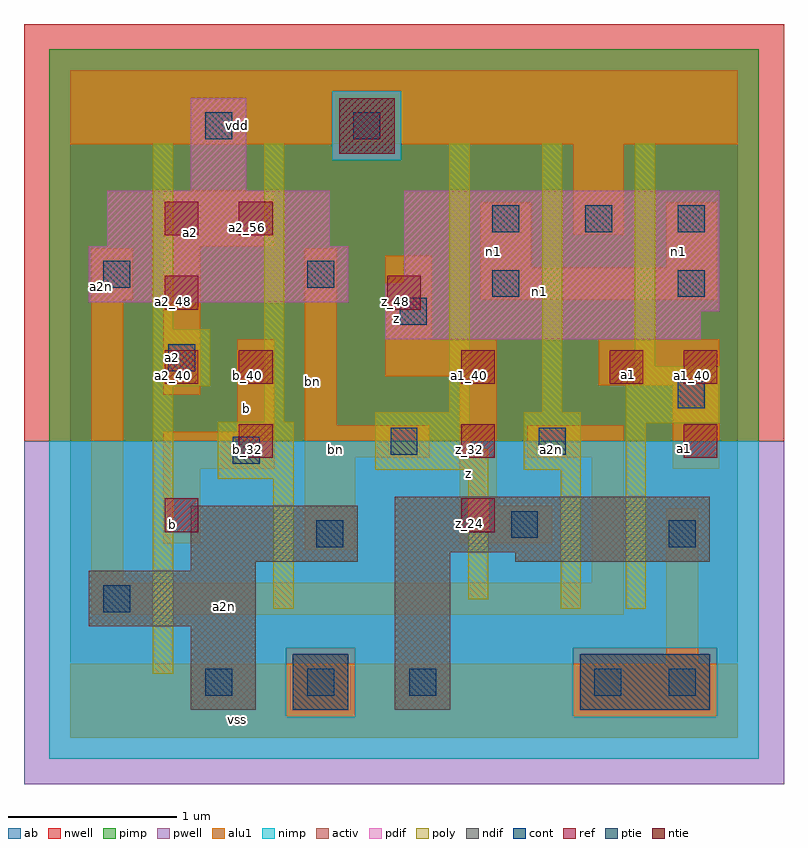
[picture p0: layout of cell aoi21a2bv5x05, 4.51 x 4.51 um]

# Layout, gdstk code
import gdstk
lib = gdstk.Library(unit=1e-6, precision=2.5e-09)
def R(c, l, rs):  # rectangles x0, y0, x1, y1
    for r in rs: c.add(gdstk.rectangle(r[:2], r[2:], *l))
def A(c, l, x, y, w, h, nx, ny, dx, dy):  # array of equal rectangles
    R(c, l, [(x+i*dx, y+j*dy, x+i*dx+w, y+j*dy+h) for i in range(nx) for j in range(ny)])
ndif = (3, 0)
pdif = (4, 0)
ntie = (5, 0)
ptie = (6, 0)
ref = (24, 0)
cont = (25, 0)
pwell = (41, 0)
nwell = (42, 0)
activ = (43, 0)
pimp = (44, 0)
nimp = (45, 0)
poly = (46, 0)
alu1 = (49, 0)
ab = (63, 0)

aoi21a2bv5x05 = lib.new_cell('aoi21a2bv5x05')
R(aoi21a2bv5x05, ndif, [(0.715,0.165,1.1,0.66), (1.925,0.165,2.255,1.1), (0.11,0.66,1.1,0.99), (0.715,0.99,1.1,1.045), (0.715,1.045,1.705,1.375), (2.64,1.045,3.795,1.1), (1.925,1.1,3.795,1.43)])
R(aoi21a2bv5x05, pdif, [(1.87,2.365,3.74,2.53), (1.87,2.53,3.85,2.695), (0.11,2.585,1.65,2.915), (1.98,2.695,3.85,3.245), (0.22,2.915,1.54,3.245), (0.715,3.245,1.045,3.795)])
R(aoi21a2bv5x05, ntie, [(1.595,3.465,1.925,3.795)])
R(aoi21a2bv5x05, ptie, [(1.32,0.165,1.65,0.495), (3.025,0.165,3.795,0.495)])
A(aoi21a2bv5x05, ref, 1, 1.66, 0.2, 0.2, 3, 1, 1.32, 0)
A(aoi21a2bv5x05, ref, 0.56, 2.1, 0.2, 0.2, 1, 3, 0, 0.44)
R(aoi21a2bv5x05, ref, [(0.56,1.22,0.76,1.42), (2.32,1.22,2.52,1.42), (1,2.1,1.2,2.3), (2.32,2.1,2.52,2.3), (3.2,2.1,3.4,2.3), (3.64,2.1,3.84,2.3), (1.88,2.54,2.08,2.74), (1,2.98,1.2,3.18)])
A(aoi21a2bv5x05, cont, 0.8, 0.25, 0.16, 0.16, 3, 1, 0.605, 0)
A(aoi21a2bv5x05, cont, 2.505, 3, 0.16, 0.16, 3, 1, 0.55, 0)
R(aoi21a2bv5x05, cont, [(3.11,0.25,3.27,0.41), (3.55,0.25,3.71,0.41), (0.195,0.745,0.355,0.905), (1.46,1.13,1.62,1.29), (3.55,1.13,3.71,1.29), (2.615,1.185,2.775,1.345), (0.965,1.625,1.125,1.785), (1.9,1.68,2.06,1.84), (2.78,1.68,2.94,1.84), (3.605,1.955,3.765,2.115), (0.58,2.175,0.74,2.335), (1.955,2.45,2.115,2.61), (2.505,2.615,2.665,2.775), (3.605,2.615,3.765,2.775), (0.195,2.67,0.355,2.83), (1.405,2.67,1.565,2.83), (0.8,3.55,0.96,3.71), (1.68,3.55,1.84,3.71)])
R(aoi21a2bv5x05, pwell, [(-0.275,-0.275,4.235,1.76)])
R(aoi21a2bv5x05, nwell, [(-0.275,1.76,4.235,4.235)])
R(aoi21a2bv5x05, activ, [(0.715,0.165,1.1,0.66), (1.32,0.165,1.65,0.495), (1.925,0.165,2.255,1.1), (3.025,0.165,3.795,0.495), (0.11,0.66,1.1,0.99), (0.715,0.99,1.1,1.045), (0.715,1.045,1.705,1.375), (2.64,1.045,3.795,1.1), (1.925,1.1,3.795,1.43), (1.87,2.365,3.74,2.53), (1.87,2.53,3.85,2.695), (0.11,2.585,1.65,2.915), (1.98,2.695,3.85,3.245), (0.22,2.915,1.54,3.245), (0.715,3.245,1.045,3.795), (1.595,3.465,1.925,3.795)])
R(aoi21a2bv5x05, pimp, [(1.28,0.125,1.69,0.535), (2.985,0.125,3.835,0.535), (-0.125,1.76,4.085,3.425), (-0.125,3.425,1.555,3.835), (1.965,3.425,4.085,3.835), (-0.125,3.835,4.085,4.085)])
R(aoi21a2bv5x05, nimp, [(-0.125,-0.125,4.085,0.125), (-0.125,0.125,1.28,0.535), (1.69,0.125,2.985,0.535), (3.835,0.125,4.085,0.535), (-0.125,0.535,4.085,1.76), (1.555,3.425,1.965,3.835)])
R(aoi21a2bv5x05, poly, [(0.49,0.38,0.61,2.085), (1.205,0.765,1.325,1.535), (2.91,0.765,3.03,1.59), (3.295,0.765,3.415,1.865), (2.36,0.82,2.48,1.59), (0.875,1.535,1.325,1.875), (1.81,1.59,2.48,1.71), (2.69,1.59,3.03,1.93), (1.81,1.71,2.37,1.93), (3.295,1.865,3.855,2.205), (1.15,1.875,1.27,3.525), (2.25,1.93,2.37,3.525), (2.8,1.93,2.92,3.525), (0.49,2.085,0.83,2.425), (3.35,2.205,3.47,3.525), (0.49,2.425,0.61,3.525)])
R(aoi21a2bv5x05, alu1, [(0,0,3.96,0.44), (3.535,0.44,3.725,1.36), (0.125,0.73,3.285,0.92), (0.125,0.92,0.315,2.6), (3.095,0.92,3.285,1.665), (1.39,1.115,1.69,1.665), (0.55,1.155,0.77,1.595), (2.31,1.155,2.86,1.375), (2.31,1.375,2.53,2.145), (0.55,1.595,1.21,1.815), (3.575,1.595,3.85,2.09), (1.39,1.665,2.13,1.855), (2.71,1.665,3.285,1.855), (0.99,1.815,1.21,2.365), (1.39,1.855,1.58,2.9), (0.55,2.035,0.77,2.915), (3.135,2.09,3.85,2.365), (1.87,2.145,2.53,2.365), (1.87,2.365,2.145,2.86), (0.125,2.6,0.37,2.9), (2.435,2.6,3.835,2.79), (2.435,2.79,2.735,3.175), (3.535,2.79,3.835,3.175), (0.55,2.915,1.21,3.245), (2.985,2.985,3.285,3.52), (0,3.52,3.96,3.96)])
R(aoi21a2bv5x05, ab, [(0,0,3.96,3.96)])
aoi21a2bv5x05.add(gdstk.Label('vss', (0.99,0.11), layer=49, texttype=0))
aoi21a2bv5x05.add(gdstk.Label('a2n', (0.915,0.7775), layer=49, texttype=0))
aoi21a2bv5x05.add(gdstk.Label('a1', (3.6425,1.7175), layer=49, texttype=0))
aoi21a2bv5x05.add(gdstk.Label('a2n', (2.8525,1.7125), layer=49, texttype=0))
aoi21a2bv5x05.add(gdstk.Label('a1', (3.3125,2.1575), layer=49, texttype=0))
aoi21a2bv5x05.add(gdstk.Label('z', (2.365,1.5675), layer=49, texttype=0))
aoi21a2bv5x05.add(gdstk.Label('b', (0.605,1.265), layer=49, texttype=0))
aoi21a2bv5x05.add(gdstk.Label('bn', (1.575,1.7125), layer=49, texttype=0))
aoi21a2bv5x05.add(gdstk.Label('n1', (2.785,2.6475), layer=49, texttype=0))
aoi21a2bv5x05.add(gdstk.Label('n1', (3.61,2.885), layer=49, texttype=0))
aoi21a2bv5x05.add(gdstk.Label('n1', (2.51,2.885), layer=49, texttype=0))
aoi21a2bv5x05.add(gdstk.Label('z', (1.9375,2.4875), layer=49, texttype=0))
aoi21a2bv5x05.add(gdstk.Label('bn', (1.4375,2.115), layer=49, texttype=0))
aoi21a2bv5x05.add(gdstk.Label('b', (1.045,1.9525), layer=49, texttype=0))
aoi21a2bv5x05.add(gdstk.Label('a2', (0.605,2.255), layer=49, texttype=0))
aoi21a2bv5x05.add(gdstk.Label('a2n', (0.185,2.675), layer=49, texttype=0))
aoi21a2bv5x05.add(gdstk.Label('a2', (0.715,2.9975), layer=49, texttype=0))
aoi21a2bv5x05.add(gdstk.Label('vdd', (0.99,3.63), layer=49, texttype=0))
aoi21a2bv5x05.add(gdstk.Label('z_48', (1.93,2.59), layer=24, texttype=0))
aoi21a2bv5x05.add(gdstk.Label('b_24', (0.61,1.27), layer=24, texttype=0))
aoi21a2bv5x05.add(gdstk.Label('a1_40', (3.25,2.15), layer=24, texttype=0))
aoi21a2bv5x05.add(gdstk.Label('a1_40', (3.69,2.15), layer=24, texttype=0))
aoi21a2bv5x05.add(gdstk.Label('a1_32', (3.69,1.71), layer=24, texttype=0))
aoi21a2bv5x05.add(gdstk.Label('a2_56', (1.05,3.03), layer=24, texttype=0))
aoi21a2bv5x05.add(gdstk.Label('a2_56', (0.61,3.03), layer=24, texttype=0))
aoi21a2bv5x05.add(gdstk.Label('a2_48', (0.61,2.59), layer=24, texttype=0))
aoi21a2bv5x05.add(gdstk.Label('b_32', (1.05,1.71), layer=24, texttype=0))
aoi21a2bv5x05.add(gdstk.Label('b_40', (1.05,2.15), layer=24, texttype=0))
aoi21a2bv5x05.add(gdstk.Label('z_24', (2.37,1.27), layer=24, texttype=0))
aoi21a2bv5x05.add(gdstk.Label('z_32', (2.37,1.71), layer=24, texttype=0))
aoi21a2bv5x05.add(gdstk.Label('a1_40', (2.37,2.15), layer=24, texttype=0))
aoi21a2bv5x05.add(gdstk.Label('a2_40', (0.61,2.15), layer=24, texttype=0))

lib.write_gds('aoi21a2bv5x05.gds')
